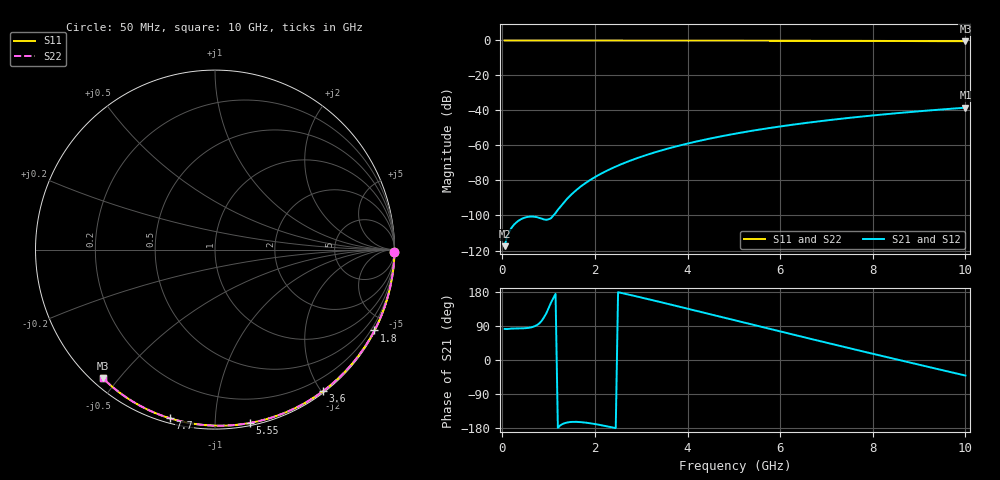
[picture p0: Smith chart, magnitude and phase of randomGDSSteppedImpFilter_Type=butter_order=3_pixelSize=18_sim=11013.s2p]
! freq	dB(S11)	phase(S11)	dB(S12)	phase(S12)
!  dB(S21)	phase(S21)	dB(S22)	phase(S22)
!S-par simulation data
#  GHz  S  DB  R 50
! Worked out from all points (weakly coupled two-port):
!   200 points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, 50 MHz to 10 GHz, reference 50 ohm
!   highest |S21| = -38.41 dB at 10 GHz (marker M1); lowest = -117.5 dB at 50 MHz (marker M2)
!   lowest |S11| = -0.4 dB at 10 GHz (marker M3), VSWR 39.18, Z = 1.54 - j22.6 ohm
!   |S11| at or under -10 dB: nowhere
!   |S22| runs from -0.4 to 0.0 dB; largest |S21 - S12| = 0
!   S11 on the Smith chart (normalised r, x): 50 MHz: open; 1.8 GHz: 0.04, -4.18; 3.6 GHz: 0.02, -2.02; 5.55 GHz: 0.02, -1.22; 7.7 GHz: 0.02, -0.77; 10 GHz: 0.03, -0.45
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0.05  -0.00 -0.8  -117.52 82.1  -117.52 82.1  -0.00 -0.8
0.9  -0.02 -13.6  -102.23 112.5  -102.23 112.5  -0.02 -13.6
1.75  -0.03 -26.2  -82.35 -164.6  -82.35 -164.6  -0.03 -26.2
1.8  -0.03 -26.9  -81.42 -165.3  -81.42 -165.3  -0.03 -26.9
1.85  -0.04 -27.6  -80.53 -166.1  -80.53 -166.1  -0.04 -27.6
1.9  -0.04 -28.4  -79.68 -167.0  -79.68 -167.0  -0.04 -28.4
2.05  -0.04 -30.5  -77.31 -170.0  -77.31 -170.0  -0.04 -30.5
2.25  -0.04 -33.5  -74.52 -174.7  -74.52 -174.7  -0.04 -33.5
2.45  -0.05 -36.3  -72.05 -179.8  -72.05 -179.8  -0.05 -36.3
2.65  -0.05 -39.2  -69.83 174.8  -69.83 174.8  -0.05 -39.2
3  -0.06 -44.2  -66.42 164.9  -66.42 164.9  -0.06 -44.2
3.4  -0.07 -49.8  -63.09 153.3  -63.09 153.3  -0.07 -49.8
3.6  -0.07 -52.6  -61.60 147.4  -61.60 147.4  -0.07 -52.6
4.3  -0.09 -62.2  -57.09 126.5  -57.09 126.5  -0.09 -62.1
5.05  -0.11 -72.1  -53.16 103.9  -53.16 103.9  -0.11 -72.1
5.55  -0.13 -78.6  -50.93 88.9  -50.93 88.9  -0.13 -78.6
6.1  -0.15 -85.5  -48.75 72.4  -48.75 72.4  -0.15 -85.5
6.7  -0.18 -92.9  -46.64 54.6  -46.64 54.6  -0.18 -92.9
7.7  -0.24 -104.9  -43.64 25.2  -43.64 25.2  -0.24 -104.9
8.35  -0.29 -112.5  -41.96 6.3  -41.96 6.3  -0.29 -112.5
9.15  -0.36 -121.7  -40.12 -16.7  -40.12 -16.7  -0.36 -121.6
10  -0.44 -131.2  -38.41 -41.0  -38.41 -41.0  -0.44 -131.2
